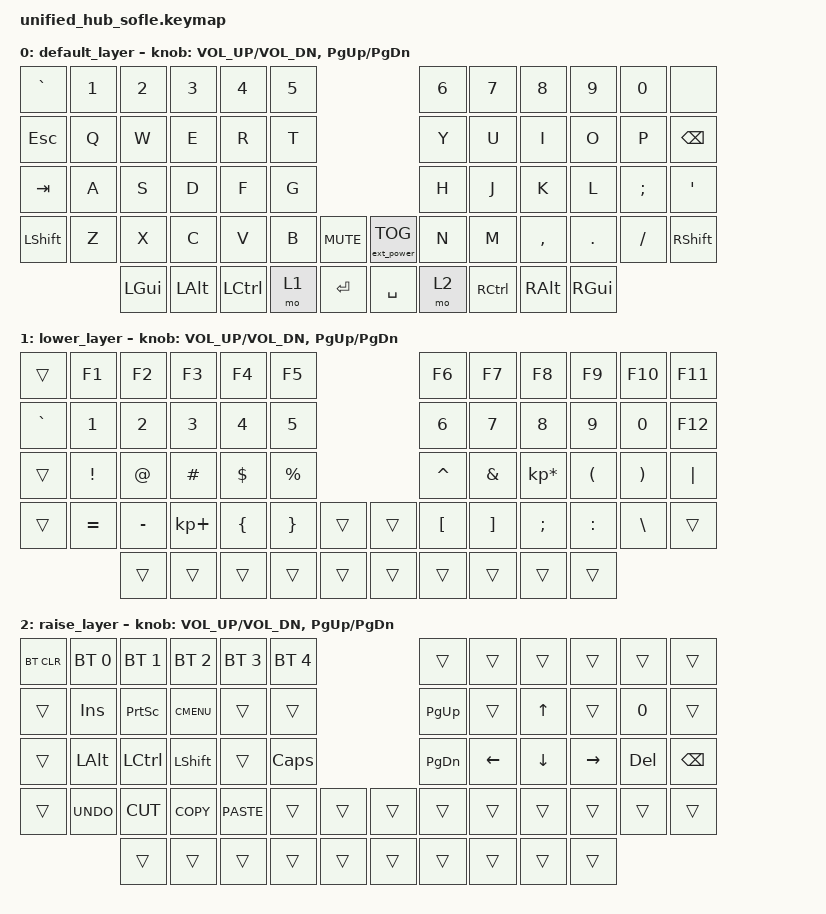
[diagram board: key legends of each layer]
/*
 * Copyright (c) 2020 The ZMK Contributors
 *
 * SPDX-License-Identifier: MIT
 */

#include <behaviors.dtsi>
#include <dt-bindings/zmk/keys.h>
#include <dt-bindings/zmk/bt.h>
#include <dt-bindings/zmk/ext_power.h>

/ {
    keymap {
        compatible = "zmk,keymap";

        default_layer {
            bindings = <
&kp GRAVE &kp N1 &kp N2   &kp N3   &kp N4    &kp N5                              &kp N6 &kp N7    &kp N8    &kp N9   &kp N0   &none
&kp ESC   &kp Q  &kp W    &kp E    &kp R     &kp T                               &kp Y  &kp U     &kp I     &kp O    &kp P    &kp BSPC
&kp TAB   &kp A  &kp S    &kp D    &kp F     &kp G                               &kp H  &kp J     &kp K     &kp L    &kp SEMI &kp SQT
&kp LSHFT &kp Z  &kp X    &kp C    &kp V     &kp B  &kp C_MUTE &ext_power EP_TOG &kp N  &kp M     &kp COMMA &kp DOT  &kp FSLH &kp RSHFT
                 &kp LGUI &kp LALT &kp LCTRL &mo 1  &kp RET    &kp SPACE         &mo 2  &kp RCTRL &kp RALT  &kp RGUI
            >;

            sensor-bindings = <&inc_dec_kp C_VOL_UP C_VOL_DN &inc_dec_kp PG_UP PG_DN>;
        };

        lower_layer {
            bindings = <
&trans    &kp F1    &kp F2    &kp F3      &kp F4    &kp F5                    &kp F6    &kp F7   &kp F8          &kp F9    &kp F10   &kp F11
&kp GRAVE &kp N1    &kp N2    &kp N3      &kp N4    &kp N5                    &kp N6    &kp N7   &kp N8          &kp N9    &kp N0    &kp F12
&trans    &kp EXCL  &kp AT    &kp HASH    &kp DLLR  &kp PRCNT                 &kp CARET &kp AMPS &kp KP_MULTIPLY &kp LPAR  &kp RPAR  &kp PIPE
&trans    &kp EQUAL &kp MINUS &kp KP_PLUS &kp LBRC  &kp RBRC  &trans   &trans &kp LBKT  &kp RBKT &kp SEMI        &kp COLON &kp BSLH  &trans
                    &trans    &trans      &trans    &trans    &trans   &trans &trans    &trans   &trans          &trans
            >;

            sensor-bindings = <&inc_dec_kp C_VOL_UP C_VOL_DN &inc_dec_kp PG_UP PG_DN>;
        };

        raise_layer {
            bindings = <
&bt BT_CLR &bt BT_SEL 0 &bt BT_SEL 1 &bt BT_SEL 2 &bt BT_SEL 3 &bt BT_SEL 4             &trans    &trans    &trans   &trans    &trans  &trans
&trans     &kp INS      &kp PSCRN    &kp K_CMENU  &trans       &trans                   &kp PG_UP &trans    &kp UP   &trans    &kp N0  &trans
&trans     &kp LALT     &kp LCTRL    &kp LSHFT    &trans       &kp CLCK                 &kp PG_DN &kp LEFT  &kp DOWN &kp RIGHT &kp DEL &kp BSPC
&trans     &kp K_UNDO   &kp K_CUT    &kp K_COPY   &kp K_PASTE  &trans  &trans   &trans  &trans    &trans    &trans   &trans    &trans  &trans
                        &trans       &trans       &trans       &trans  &trans   &trans  &trans    &trans    &trans   &trans
            >;

            sensor-bindings = <&inc_dec_kp C_VOL_UP C_VOL_DN &inc_dec_kp PG_UP PG_DN>;
        };
    };
};
